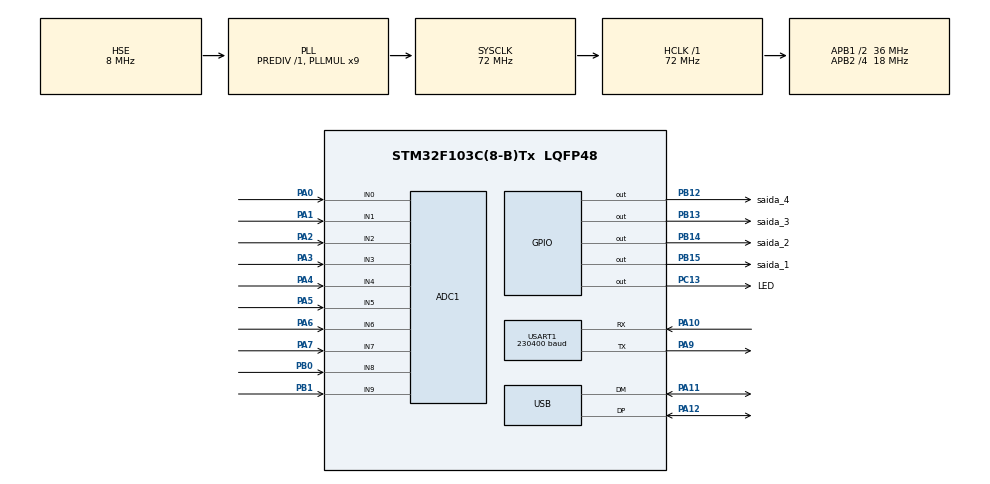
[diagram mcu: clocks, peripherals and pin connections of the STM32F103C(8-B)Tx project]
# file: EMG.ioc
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ADC1.Channel-0\#ChannelRegularConversion=ADC_CHANNEL_0
ADC1.Channel-1\#ChannelRegularConversion=ADC_CHANNEL_1
ADC1.Channel-2\#ChannelRegularConversion=ADC_CHANNEL_2
ADC1.Channel-3\#ChannelRegularConversion=ADC_CHANNEL_3
ADC1.Channel-4\#ChannelRegularConversion=ADC_CHANNEL_4
ADC1.Channel-5\#ChannelRegularConversion=ADC_CHANNEL_5
ADC1.Channel-6\#ChannelRegularConversion=ADC_CHANNEL_6
ADC1.Channel-7\#ChannelRegularConversion=ADC_CHANNEL_7
ADC1.Channel-8\#ChannelRegularConversion=ADC_CHANNEL_8
ADC1.Channel-9\#ChannelRegularConversion=ADC_CHANNEL_9
ADC1.ContinuousConvMode=ENABLE
ADC1.InjNumberOfConversion=0
ADC1.NbrOfConversion=10
ADC1.NbrOfConversionFlag=1
ADC1.Rank-0\#ChannelRegularConversion=1
ADC1.Rank-1\#ChannelRegularConversion=2
ADC1.Rank-2\#ChannelRegularConversion=3
ADC1.Rank-3\#ChannelRegularConversion=4
ADC1.Rank-4\#ChannelRegularConversion=5
ADC1.Rank-5\#ChannelRegularConversion=6
ADC1.Rank-6\#ChannelRegularConversion=7
ADC1.Rank-7\#ChannelRegularConversion=8
ADC1.Rank-8\#ChannelRegularConversion=9
ADC1.Rank-9\#ChannelRegularConversion=10
ADC1.SamplingTime-0\#ChannelRegularConversion=ADC_SAMPLETIME_1CYCLE_5
ADC1.SamplingTime-1\#ChannelRegularConversion=ADC_SAMPLETIME_1CYCLE_5
ADC1.SamplingTime-2\#ChannelRegularConversion=ADC_SAMPLETIME_1CYCLE_5
ADC1.SamplingTime-3\#ChannelRegularConversion=ADC_SAMPLETIME_1CYCLE_5
ADC1.SamplingTime-4\#ChannelRegularConversion=ADC_SAMPLETIME_1CYCLE_5
ADC1.SamplingTime-5\#ChannelRegularConversion=ADC_SAMPLETIME_1CYCLE_5
ADC1.SamplingTime-6\#ChannelRegularConversion=ADC_SAMPLETIME_1CYCLE_5
ADC1.SamplingTime-7\#ChannelRegularConversion=ADC_SAMPLETIME_1CYCLE_5
ADC1.SamplingTime-8\#ChannelRegularConversion=ADC_SAMPLETIME_1CYCLE_5
ADC1.SamplingTime-9\#ChannelRegularConversion=ADC_SAMPLETIME_1CYCLE_5
ADC1.master=1
Dma.ADC1.0.Direction=DMA_PERIPH_TO_MEMORY
Dma.ADC1.0.Instance=DMA1_Channel1
Dma.ADC1.0.MemDataAlignment=DMA_MDATAALIGN_WORD
Dma.ADC1.0.MemInc=DMA_MINC_ENABLE
Dma.ADC1.0.Mode=DMA_CIRCULAR
Dma.ADC1.0.PeriphDataAlignment=DMA_PDATAALIGN_WORD
Dma.ADC1.0.PeriphInc=DMA_PINC_DISABLE
Dma.ADC1.0.Priority=DMA_PRIORITY_VERY_HIGH
Dma.Request0=ADC1
Mcu.Family=STM32F1
Mcu.Name=STM32F103C(8-B)Tx
Mcu.Package=LQFP48
NVIC.ADC1_2_IRQn=true\:0\:0\:false\:false\:true\:true\:true
NVIC.DMA1_Channel1_IRQn=true\:0\:0\:false\:false\:true\:false\:true
NVIC.PriorityGroup=NVIC_PRIORITYGROUP_4
NVIC.TIM2_IRQn=true\:0\:0\:false\:false\:true\:true\:true
NVIC.TIM4_IRQn=true\:0\:0\:false\:false\:true\:false\:true
NVIC.TimeBase=TIM4_IRQn
NVIC.TimeBaseIP=TIM4
NVIC.USB_LP_CAN1_RX0_IRQn=true\:0\:0\:false\:false\:true\:true\:true
PA0-WKUP.Signal=ADCx_IN0
PA1.Signal=ADCx_IN1
PA10.Mode=Asynchronous
PA10.Signal=USART1_RX
PA11.Mode=Device
PA11.Signal=USB_DM
PA12.Mode=Device
PA12.Signal=USB_DP
PA13.Mode=Serial_Wire
PA13.Signal=SYS_JTMS-SWDIO
PA14.Mode=Serial_Wire
PA14.Signal=SYS_JTCK-SWCLK
PA2.Signal=ADCx_IN2
PA3.Signal=ADCx_IN3
PA4.Signal=ADCx_IN4
PA5.Signal=ADCx_IN5
PA6.Signal=ADCx_IN6
PA7.Signal=ADCx_IN7
PA9.Mode=Asynchronous
PA9.Signal=USART1_TX
PB0.Signal=ADCx_IN8
PB1.Signal=ADCx_IN9
PB12.GPIO_Label=saida_4
PB12.Signal=GPIO_Output
PB13.GPIO_Label=saida_3
PB13.Signal=GPIO_Output
PB14.GPIO_Label=saida_2
PB14.Signal=GPIO_Output
PB15.GPIO_Label=saida_1
PB15.Signal=GPIO_Output
PC13-TAMPER-RTC.GPIO_Label=LED
PC13-TAMPER-RTC.Signal=GPIO_Output
PD0-OSC_IN.Mode=HSE-External-Oscillator
PD0-OSC_IN.Signal=RCC_OSC_IN
PD1-OSC_OUT.Mode=HSE-External-Oscillator
PD1-OSC_OUT.Signal=RCC_OSC_OUT
ProjectManager.HeapSize=0x200
ProjectManager.StackSize=0x400
ProjectManager.TargetToolchain=STM32CubeIDE
RCC.AHBFreq_Value=72000000
RCC.APB1CLKDivider=RCC_HCLK_DIV2
RCC.APB1Freq_Value=36000000
RCC.APB1TimFreq_Value=72000000
RCC.APB2CLKDivider=RCC_HCLK_DIV4
RCC.APB2Freq_Value=18000000
RCC.APB2TimFreq_Value=36000000
RCC.HCLKFreq_Value=72000000
RCC.PLLMUL=RCC_PLL_MUL9
RCC.PLLSourceVirtual=RCC_PLLSOURCE_HSE
RCC.SYSCLKFreq_VALUE=72000000
RCC.SYSCLKSource=RCC_SYSCLKSOURCE_PLLCLK
RCC.USBFreq_Value=48000000
RCC.USBPrescaler=RCC_USBCLKSOURCE_PLL_DIV1_5
SH.ADCx_IN0.0=ADC1_IN0,IN0
SH.ADCx_IN1.0=ADC1_IN1,IN1
SH.ADCx_IN2.0=ADC1_IN2,IN2
SH.ADCx_IN3.0=ADC1_IN3,IN3
SH.ADCx_IN4.0=ADC1_IN4,IN4
SH.ADCx_IN5.0=ADC1_IN5,IN5
SH.ADCx_IN6.0=ADC1_IN6,IN6
SH.ADCx_IN7.0=ADC1_IN7,IN7
SH.ADCx_IN8.0=ADC1_IN8,IN8
SH.ADCx_IN9.0=ADC1_IN9,IN9
TIM2.Period=0
TIM2.Prescaler=3599
USART1.BaudRate=230400
USART1.VirtualMode=VM_ASYNC
USB_DEVICE.CLASS_NAME_FS=CDC
USB_DEVICE.USBD_DEBUG_LEVEL=2
USB_DEVICE.VirtualMode=Cdc
USB_DEVICE.VirtualModeFS=Cdc_FS
VP_SYS_VS_tim4.Mode=TIM4
VP_TIM2_VS_ClockSourceINT.Mode=Internal
VP_USB_DEVICE_VS_USB_DEVICE_CDC_FS.Mode=CDC_FS
board=custom

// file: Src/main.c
/* USER CODE BEGIN Header */
/**
  ******************************************************************************
  * @file           : main.c
  * @brief          : Main program body
  ******************************************************************************
  * @attention
  *
  * <h2><center>&copy; Copyright (c) 2019 STMicroelectronics.
  * All rights reserved.</center></h2>
  *
  * This software component is licensed by ST under BSD 3-Clause license,
  * the "License"; You may not use this file except in compliance with the
  * License. You may obtain a copy of the License at:
  *                        opensource.org/licenses/BSD-3-Clause
  *
  ******************************************************************************
  */
/* USER CODE END Header */

#include "main.h"
#include "adc.h"
#include "dma.h"
#include "tim.h"
#include "usart.h"
#include "usb_device.h"
#include "gpio.h"

/* USER CODE BEGIN Includes */
#include "usbd_cdc_if.h"
#define TAM_BUFFER 4            // Number of channels
/* USER CODE END Includes */

void SystemClock_Config(void);

/* USER CODE BEGIN 0 */
volatile uint32_t ADCValue[10] = {0};
volatile uint32_t flag_adc = 0;
/* USER CODE END 0 */

int main(void)
{
  /* USER CODE BEGIN 1 */
	uint32_t i = 0;
  /* USER CODE END 1 */

  /* MCU Configuration--------------------------------------------------------*/

  /* Reset of all peripherals, Initializes the Flash interface and the Systick. */
  HAL_Init();

  /* Configure the system clock */
  SystemClock_Config();

  /* Initialize all configured peripherals */
  MX_GPIO_Init();
  MX_DMA_Init();
  MX_ADC1_Init();
  MX_TIM2_Init();
  MX_USB_DEVICE_Init();
  MX_USART1_UART_Init();
  /* USER CODE BEGIN 2 */

  HAL_ADC_Start_DMA(&hadc1,(uint32_t*)ADCValue, 10);
  HAL_ADC_Start_IT(&hadc1);

  uint8_t buff[TAM_BUFFER];
  buff[0] = 0xCC;               // initial Sync byte
  /* USER CODE END 2 */

  /* Infinite loop */
  /* USER CODE BEGIN WHILE */
  while (1)
  {
	  if(flag_adc == 1){
		  flag_adc = 0;
		  uint32_t j = 0;
		  for(i = 1; i < TAM_BUFFER; i+=1){//22
			  //buff[i+1] = (ADCValue[j]>>8);
			  //buff[i] = (ADCValue[j]&0x00FF);
			  buff[i] = (ADCValue[j]>>4); // transforming 8-bit
			  j++;
		  }
		  HAL_UART_Transmit(&huart1,buff,sizeof(buff),1000);
	  }

    /* USER CODE END WHILE */

  }
}

void SystemClock_Config(void)
{
  RCC_OscInitTypeDef RCC_OscInitStruct = {0};
  RCC_ClkInitTypeDef RCC_ClkInitStruct = {0};
  RCC_PeriphCLKInitTypeDef PeriphClkInit = {0};

  /** Initializes the CPU, AHB and APB busses clocks
  */
  RCC_OscInitStruct.OscillatorType = RCC_OSCILLATORTYPE_HSE;
  RCC_OscInitStruct.HSEState = RCC_HSE_ON;
  RCC_OscInitStruct.HSEPredivValue = RCC_HSE_PREDIV_DIV1;
  RCC_OscInitStruct.HSIState = RCC_HSI_ON;
  RCC_OscInitStruct.PLL.PLLState = RCC_PLL_ON;
  RCC_OscInitStruct.PLL.PLLSource = RCC_PLLSOURCE_HSE;
  RCC_OscInitStruct.PLL.PLLMUL = RCC_PLL_MUL9;
  if (HAL_RCC_OscConfig(&RCC_OscInitStruct) != HAL_OK)
  {
    Error_Handler();
  }
  /** Initializes the CPU, AHB and APB busses clocks
  */
  RCC_ClkInitStruct.ClockType = RCC_CLOCKTYPE_HCLK|RCC_CLOCKTYPE_SYSCLK
                              |RCC_CLOCKTYPE_PCLK1|RCC_CLOCKTYPE_PCLK2;
  RCC_ClkInitStruct.SYSCLKSource = RCC_SYSCLKSOURCE_PLLCLK;
  RCC_ClkInitStruct.AHBCLKDivider = RCC_SYSCLK_DIV1;
  RCC_ClkInitStruct.APB1CLKDivider = RCC_HCLK_DIV2;
  RCC_ClkInitStruct.APB2CLKDivider = RCC_HCLK_DIV4;

  if (HAL_RCC_ClockConfig(&RCC_ClkInitStruct, FLASH_LATENCY_2) != HAL_OK)
  {
    Error_Handler();
  }
  PeriphClkInit.PeriphClockSelection = RCC_PERIPHCLK_ADC|RCC_PERIPHCLK_USB;
  PeriphClkInit.AdcClockSelection = RCC_ADCPCLK2_DIV2;
  PeriphClkInit.UsbClockSelection = RCC_USBCLKSOURCE_PLL_DIV1_5;
  if (HAL_RCCEx_PeriphCLKConfig(&PeriphClkInit) != HAL_OK)
  {
    Error_Handler();
  }
}

/* USER CODE BEGIN 4 */
/*void HAL_ADC_ConvCpltCallback(ADC_HandleTypeDef *hadc)
{
	if(hadc->Instance == ADC1)
	{
		HAL_GPIO_TogglePin(LED_GPIO_Port, LED_Pin);
	}

}*/
/* USER CODE END 4 */

void HAL_TIM_PeriodElapsedCallback(TIM_HandleTypeDef *htim)
{
  /* USER CODE BEGIN Callback 0 */
	volatile static uint32_t contador = 0;
  /* USER CODE END Callback 0 */
  if (htim->Instance == TIM4) {
    HAL_IncTick();
  }
  /* USER CODE BEGIN Callback 1 */
  contador++;
  if(contador == 1)//1000
  {
	  flag_adc = 1;
	  contador = 0;
  }

  /* USER CODE END Callback 1 */
}

void Error_Handler(void)
{
  /* USER CODE BEGIN Error_Handler_Debug */
  /* User can add his own implementation to report the HAL error return state */
	HAL_GPIO_TogglePin(LED_GPIO_Port, LED_Pin);
	HAL_Delay(1000);
  /* USER CODE END Error_Handler_Debug */
}

/************************ (C) COPYRIGHT STMicroelectronics *****END OF FILE****/
